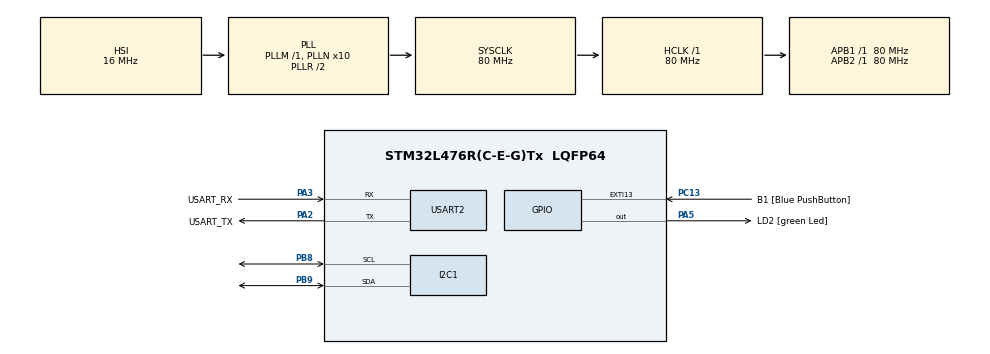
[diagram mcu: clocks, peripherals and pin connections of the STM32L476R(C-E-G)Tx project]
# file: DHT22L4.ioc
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I2C1.Timing=0x10909CEC
Mcu.Family=STM32L4
Mcu.Name=STM32L476R(C-E-G)Tx
Mcu.Package=LQFP64
NVIC.PriorityGroup=NVIC_PRIORITYGROUP_4
PA13\ (JTMS-SWDIO).GPIO_Label=TMS
PA13\ (JTMS-SWDIO).Mode=Serial_Wire
PA13\ (JTMS-SWDIO).Signal=SYS_JTMS-SWDIO
PA14\ (JTCK-SWCLK).GPIO_Label=TCK
PA14\ (JTCK-SWCLK).Mode=Serial_Wire
PA14\ (JTCK-SWCLK).Signal=SYS_JTCK-SWCLK
PA2.GPIO_Label=USART_TX
PA2.GPIO_Mode=GPIO_MODE_AF_PP
PA2.GPIO_PuPd=GPIO_NOPULL
PA2.GPIO_Speed=GPIO_SPEED_FREQ_VERY_HIGH
PA2.Mode=Asynchronous
PA2.Signal=USART2_TX
PA3.GPIO_Label=USART_RX
PA3.GPIO_Mode=GPIO_MODE_AF_PP
PA3.GPIO_PuPd=GPIO_NOPULL
PA3.GPIO_Speed=GPIO_SPEED_FREQ_VERY_HIGH
PA3.Mode=Asynchronous
PA3.Signal=USART2_RX
PA5.GPIO_Label=LD2 [green Led]
PA5.GPIO_ModeDefaultOutputPP=GPIO_MODE_OUTPUT_PP
PA5.GPIO_PuPd=GPIO_NOPULL
PA5.GPIO_Speed=GPIO_SPEED_FREQ_LOW
PA5.Signal=GPIO_Output
PB3\ (JTDO-TRACESWO).GPIO_Label=SWO
PB3\ (JTDO-TRACESWO).Signal=SYS_JTDO-SWO
PB8.Mode=I2C
PB8.Signal=I2C1_SCL
PB9.Mode=I2C
PB9.Signal=I2C1_SDA
PC13.GPIO_Label=B1 [Blue PushButton]
PC13.GPIO_ModeDefaultEXTI=GPIO_MODE_IT_FALLING
PC13.GPIO_PuPd=GPIO_NOPULL
PC13.Signal=GPXTI13
PC14-OSC32_IN\ (PC14).Signal=RCC_OSC32_IN
PC15-OSC32_OUT\ (PC15).Signal=RCC_OSC32_OUT
PH0-OSC_IN\ (PH0).Signal=RCC_OSC_IN
PH1-OSC_OUT\ (PH1).Signal=RCC_OSC_OUT
ProjectManager.HeapSize=0x200
ProjectManager.StackSize=0x400
ProjectManager.TargetToolchain=STM32CubeIDE
RCC.ADCFreq_Value=64000000
RCC.AHBFreq_Value=80000000
RCC.APB1Freq_Value=80000000
RCC.APB1TimFreq_Value=80000000
RCC.APB2Freq_Value=80000000
RCC.APB2TimFreq_Value=80000000
RCC.CortexFreq_Value=80000000
RCC.HCLKFreq_Value=80000000
RCC.HSE_VALUE=8000000
RCC.HSI_VALUE=16000000
RCC.LSE_VALUE=32768
RCC.MSI_VALUE=4000000
RCC.PLLN=10
RCC.PLLSourceVirtual=RCC_PLLSOURCE_HSI
RCC.PREFETCH_ENABLE=1
RCC.SYSCLKFreq_VALUE=80000000
RCC.SYSCLKSource=RCC_SYSCLKSOURCE_PLLCLK
RCC.USBFreq_Value=64000000
RCC.VCOOutputFreq_Value=160000000
TIM6.Prescaler=79
USART2.VirtualMode-Asynchronous=VM_ASYNC
VP_TIM6_VS_ClockSourceINT.Mode=Enable_Timer
board=NUCLEO-L476RG

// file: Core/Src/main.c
/* USER CODE BEGIN Header */
/**
  ******************************************************************************
  * @file           : main.c
  * @brief          : Main program body
  ******************************************************************************
  * @attention
  *
  * Copyright (c) 2024 STMicroelectronics.
  * All rights reserved.
  *
  * This software is licensed under terms that can be found in the LICENSE file
  * in the root directory of this software component.
  * If no LICENSE file comes with this software, it is provided AS-IS.
  *
  ******************************************************************************
  */
/* USER CODE END Header */
#include "main.h"
#include "i2c.h"
#include "tim.h"
#include "usart.h"
#include "gpio.h"

/* USER CODE BEGIN Includes */
#include "lib_lcd.h"
#include <stdio.h>
/* USER CODE END Includes */

/* USER CODE BEGIN PTD */
static rgb_lcd lcddata;
/* USER CODE END PTD */

void SystemClock_Config(void);

/* USER CODE BEGIN 0 */
uint8_t Humidite_octet_1 , Humidite_octet_2 , Temperature_octet_1 , Temperature_octet_2;
uint16_t somme , Temperature , Humidite;
uint8_t Reception=0;
float Temp=0.0;
float Humi=0.0;

//Fonction pour le timer en microseconde
void delay_us (uint16_t us)
{
	__HAL_TIM_SET_COUNTER(&htim6,0);  // initialiser le timer a 0
	while (__HAL_TIM_GET_COUNTER(&htim6)<us);  /*attendre que le compteur atteingne la
												valeur desirée mise en parametre*/
}

// Initialise la broche GPIO en mode sortie
void GPIO_INIT_OUTPUT(void){
	GPIO_InitTypeDef GPIO_InitStruct = {0};
	HAL_GPIO_WritePin(GPIOB, GPIO_PIN_3, GPIO_PIN_RESET);
	GPIO_InitStruct.Pin = GPIO_PIN_3;
	GPIO_InitStruct.Mode = GPIO_MODE_OUTPUT_PP;
	GPIO_InitStruct.Pull = GPIO_PULLUP;
	GPIO_InitStruct.Speed = GPIO_SPEED_FREQ_LOW;
	HAL_GPIO_Init(GPIOB, &GPIO_InitStruct);
}

// Initialise la broche GPIO en mode entrée
void GPIO_INIT_INPUT(void){
		GPIO_InitTypeDef GPIO_InitStruct = {0};
		GPIO_InitStruct.Pin = GPIO_PIN_3;
		GPIO_InitStruct.Mode = GPIO_MODE_INPUT;
		GPIO_InitStruct.Pull = GPIO_PULLUP;
		HAL_GPIO_Init(GPIOB, &GPIO_InitStruct);
}

// Démarre la communication avec le capteur DHT22
void start_DHT22(void){
	GPIO_INIT_OUTPUT();
	HAL_GPIO_WritePin(GPIOB, GPIO_PIN_3, GPIO_PIN_RESET);
	HAL_Delay(1);
	HAL_GPIO_WritePin(GPIOB, GPIO_PIN_3, GPIO_PIN_SET);
	delay_us(35);
	GPIO_INIT_INPUT();
}

// Vérifie la réponse du capteur DHT22
uint8_t DHT22_Verification_Reponse(void){
	GPIO_INIT_INPUT();
	uint8_t Reponse = 0;
	delay_us(30);
	if (!(HAL_GPIO_ReadPin(GPIOB, GPIO_PIN_3)))
	{
		delay_us(80);
			if ((HAL_GPIO_ReadPin (GPIOB, GPIO_PIN_3))) Reponse=1;
			else Reponse= -1;
	}
	while((HAL_GPIO_ReadPin(GPIOB, GPIO_PIN_3))){}

			return Reponse;

}

// Lit les données du capteur DHT22
uint8_t Lecture_DHT22(void){
	uint8_t octet_mesure,j;
	for(j=0;j<8;j++)
	{
		while (!(HAL_GPIO_ReadPin(GPIOB, GPIO_PIN_3))){}
		delay_us(40);
		if (!(HAL_GPIO_ReadPin(GPIOB, GPIO_PIN_3)))
		{
			octet_mesure &= ~(1<<(7-j));

		}
		else
		{
			octet_mesure |= (1<<(7-j));
		}
		while((HAL_GPIO_ReadPin(GPIOB, GPIO_PIN_3))){}
	}
	return octet_mesure;
}

// Affiche la température sur l'écran LCD
void affichage_temperature(float Temperature){
	char txt[20]={0};
	sprintf(txt,"Temp:%.1f C",Temperature);
	clearlcd();
	lcd_position(&hi2c1,0,0);
	lcd_print(&hi2c1,txt);
}

// Affiche la l'humidité sur l'écran LCD
void affichage_humidite(float Humidite){
	char txt[20]={0};
	sprintf(txt,"Humi:%.1f",Humidite);
	lcd_position(&hi2c1,0,1);
	lcd_print(&hi2c1,txt);
	lcd_position(&hi2c1,10,1);
		lcd_print(&hi2c1,"%");

}

/* USER CODE END 0 */

int main(void)
{

  /* USER CODE BEGIN 1 */
	/*void INIT_timer3(){
		RCC->APB1ENR1 |= (1<<1);//activation du clk de TIM3
		TIM3->PSC = 15;//prescaler du TIM3 pour avoir f=1Mhz ceci signie aussi que le timer va s'incrementer tous les microsecondes
		TIM3->ARR = 20;// la valeur de reload du TIM3 (1Mhz /20)=50Khz, t=20us a fin de faire une temporisation de 20 us
		TIM3->CNT = 0;//initialisation du comptage de timer
		TIM3->CR1 |= (1<<0);//activation du TIM3 tempo=20us
		while((TIM3->SR & (1<<0))==0){}//attente de 20us
		if((TIM3->SR & (1<<0))==1){// test si 20us sont terminer
		TIM3->SR &= ~(0x1); } // remise a zero du flag de temporisation
	}*/

  /* USER CODE END 1 */

  /* MCU Configuration--------------------------------------------------------*/

  /* Reset of all peripherals, Initializes the Flash interface and the Systick. */
  HAL_Init();

  /* Configure the system clock */
  SystemClock_Config();

  /* Initialize all configured peripherals */
  MX_GPIO_Init();
  MX_USART2_UART_Init();
  MX_I2C1_Init();
  MX_TIM6_Init();
  /* USER CODE BEGIN 2 */
  HAL_TIM_Base_Start(&htim6);
    clearlcd();
    lcd_init(&hi2c1,&lcddata);
    lcd_position(&hi2c1,1,1);
    lcd_print(&hi2c1,"Initialisation");
    HAL_Delay(2000);
  /* USER CODE END 2 */

  /* Infinite loop */
  while (1)
  {

    /* USER CODE BEGIN 3 */
	  start_DHT22();
	  Reception=DHT22_Verification_Reponse();
	  Humidite_octet_1 = Lecture_DHT22();
	  Humidite_octet_2 = Lecture_DHT22();
	  Temperature_octet_1 = Lecture_DHT22();
	  Temperature_octet_2  = Lecture_DHT22();
	  somme = Lecture_DHT22();
	  Temperature= (Temperature_octet_1<<8)|Temperature_octet_2;
	  Humidite=(Humidite_octet_1<<8)|Humidite_octet_2;
	  Temp=(float)(Temperature/10.0);
	  Humi=(float)(Humidite/10.0);
	  affichage_temperature(Temp);
	  affichage_humidite(Humi);
	  HAL_Delay(2500);
  }
  /* USER CODE END 3 */
}

void SystemClock_Config(void)
{
  RCC_OscInitTypeDef RCC_OscInitStruct = {0};
  RCC_ClkInitTypeDef RCC_ClkInitStruct = {0};

  /** Configure the main internal regulator output voltage
  */
  if (HAL_PWREx_ControlVoltageScaling(PWR_REGULATOR_VOLTAGE_SCALE1) != HAL_OK)
  {
    Error_Handler();
  }

  /** Initializes the RCC Oscillators according to the specified parameters
  * in the RCC_OscInitTypeDef structure.
  */
  RCC_OscInitStruct.OscillatorType = RCC_OSCILLATORTYPE_HSI;
  RCC_OscInitStruct.HSIState = RCC_HSI_ON;
  RCC_OscInitStruct.HSICalibrationValue = RCC_HSICALIBRATION_DEFAULT;
  RCC_OscInitStruct.PLL.PLLState = RCC_PLL_ON;
  RCC_OscInitStruct.PLL.PLLSource = RCC_PLLSOURCE_HSI;
  RCC_OscInitStruct.PLL.PLLM = 1;
  RCC_OscInitStruct.PLL.PLLN = 10;
  RCC_OscInitStruct.PLL.PLLP = RCC_PLLP_DIV7;
  RCC_OscInitStruct.PLL.PLLQ = RCC_PLLQ_DIV2;
  RCC_OscInitStruct.PLL.PLLR = RCC_PLLR_DIV2;
  if (HAL_RCC_OscConfig(&RCC_OscInitStruct) != HAL_OK)
  {
    Error_Handler();
  }

  /** Initializes the CPU, AHB and APB buses clocks
  */
  RCC_ClkInitStruct.ClockType = RCC_CLOCKTYPE_HCLK|RCC_CLOCKTYPE_SYSCLK
                              |RCC_CLOCKTYPE_PCLK1|RCC_CLOCKTYPE_PCLK2;
  RCC_ClkInitStruct.SYSCLKSource = RCC_SYSCLKSOURCE_PLLCLK;
  RCC_ClkInitStruct.AHBCLKDivider = RCC_SYSCLK_DIV1;
  RCC_ClkInitStruct.APB1CLKDivider = RCC_HCLK_DIV1;
  RCC_ClkInitStruct.APB2CLKDivider = RCC_HCLK_DIV1;

  if (HAL_RCC_ClockConfig(&RCC_ClkInitStruct, FLASH_LATENCY_4) != HAL_OK)
  {
    Error_Handler();
  }
}

void Error_Handler(void)
{
  __disable_irq();
  while (1)
  {
  }
}
